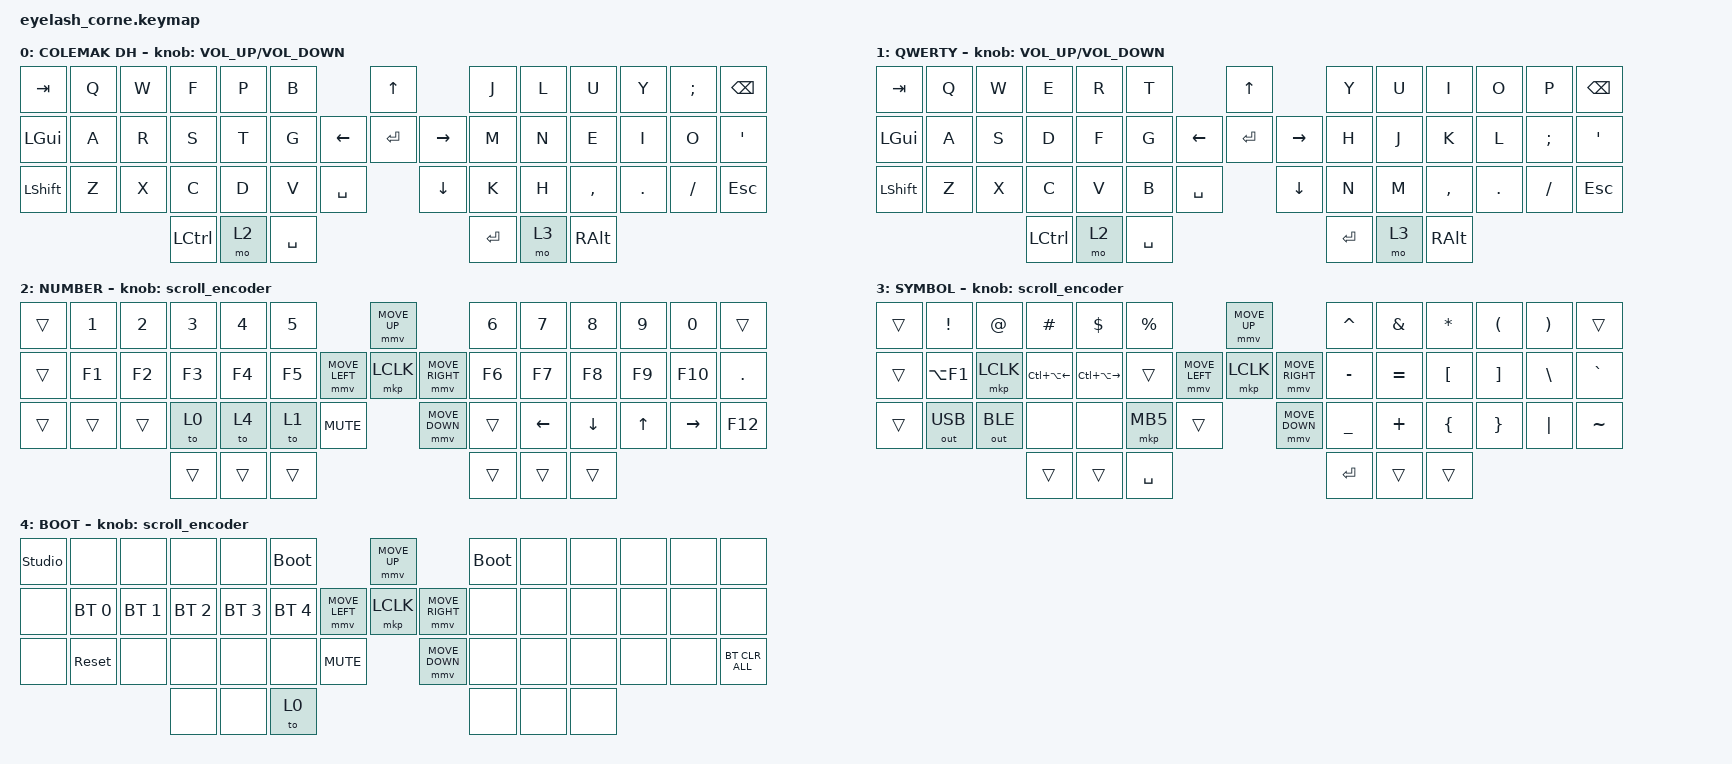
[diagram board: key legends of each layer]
#define ZMK_POINTING_DEFAULT_MOVE_VAL 1200  // 600
#define ZMK_POINTING_DEFAULT_SCRL_VAL 25   // 10

#include <input/processors.dtsi>
#include <zephyr/dt-bindings/input/input-event-codes.h>
#include <behaviors.dtsi>
#include <dt-bindings/zmk/bt.h>
#include <dt-bindings/zmk/keys.h>
#include <dt-bindings/zmk/outputs.h>
#include <dt-bindings/zmk/pointing.h>
#include <dt-bindings/zmk/rgb.h>

&mmv_input_listener { input-processors = <&zip_xy_scaler 2 1>; };

&msc_input_listener { input-processors = <&zip_scroll_scaler 2 1>; };

&msc {
    acceleration-exponent = <1>;      // 0
    time-to-max-speed-ms = <100>;       // 300
    delay-ms = <0>;                   // 0
};

&mmv {
    time-to-max-speed-ms = <500>;
    acceleration-exponent = <1>;
    trigger-period-ms = <16>;
};

&soft_off { hold-time-ms = <2000>; };

/ {
    behaviors {
        td0: td0 {
            compatible = "zmk,behavior-tap-dance";
            display-name = "Shift/Caps Lock Tap Dance";
            #binding-cells = <0>;
            bindings = <&kp LEFT_SHIFT>, <&kp CAPS>;
        };
    };

    rgb_encoder: rgb_encoder {
        compatible = "zmk,behavior-sensor-rotate";
        #sensor-binding-cells = <0>;
        bindings = <&rgb_ug RGB_BRI>, <&rgb_ug RGB_BRD>;
    };

    scroll_encoder: scroll_encoder {
        compatible = "zmk,behavior-sensor-rotate";
        #sensor-binding-cells = <0>;
        bindings = <&msc SCRL_DOWN>, <&msc SCRL_UP>;

        tap-ms = <100>;
    };

    

    combos {
        compatible = "zmk,combos";

        softoff {
            bindings = <&soft_off>;
            key-positions = <1 15 29>;
        };
    };

    keymap {
        compatible = "zmk,keymap";
        
        //0
        default_layer {
            label = "BASE";
            display-name = "COLEMAK DH";
            bindings = <
&kp TAB         &kp Q  &kp W  &kp F     &kp P       &kp B                               &kp UP                &kp J        &kp L        &kp U      &kp Y    &kp SEMI  &kp BSPC
&kp LGUI        &kp A  &kp R  &kp S     &kp T       &kp G                     &kp LEFT  &kp ENTER  &kp RIGHT  &kp M        &kp N        &kp E      &kp I    &kp O     &kp SQT
&kp LEFT_SHIFT  &kp Z  &kp X  &kp C     &kp D       &kp V        &kp SPACE              &kp DOWN              &kp K        &kp H        &kp COMMA  &kp DOT  &kp FSLH  &kp ESC
                              &kp LCTRL &mo 2       &kp SPACE                                                 &kp ENTER    &mo 3        &kp RALT
            >;

            sensor-bindings = <&inc_dec_kp C_VOLUME_UP C_VOLUME_DOWN>;
        };

        //1
        qwerty_layer {
            display-name = "QWERTY";
            label = "QWERTY";
            bindings = <
&kp TAB         &kp Q  &kp W  &kp E     &kp R       &kp T                               &kp UP                &kp Y        &kp U        &kp I      &kp O    &kp P      &kp BSPC
&kp LGUI        &kp A  &kp S  &kp D     &kp F       &kp G                     &kp LEFT  &kp ENTER  &kp RIGHT  &kp H        &kp J        &kp K      &kp L    &kp SEMI   &kp SQT
&kp LEFT_SHIFT  &kp Z  &kp X  &kp C     &kp V       &kp B        &kp SPACE              &kp DOWN              &kp N        &kp M        &kp COMMA  &kp DOT  &kp FSLH   &kp ESC
                              &kp LCTRL &mo 2       &kp SPACE                                                 &kp ENTER    &mo 3        &kp RALT
            >;

            sensor-bindings = <&inc_dec_kp C_VOLUME_UP C_VOLUME_DOWN>;
        };

        //2
        number_layer {
            display-name = "NUMBER";
            label = "NUMBER";
            bindings = <
&trans  &kp N1           &kp N2         &kp N3              &kp N4        &kp N5                                      &mmv MOVE_UP                     &kp N6           &kp N7           &kp N8            &kp N9           &kp N0     &trans
&trans  &kp F1           &kp F2         &kp F3              &kp F4        &kp F5                    &mmv MOVE_LEFT    &mkp LCLK       &mmv MOVE_RIGHT  &kp F6           &kp F7           &kp F8            &kp F9           &kp F10    &kp DOT
&trans  &trans           &trans         &to 0               &to 4         &to 1       &kp C_MUTE                      &mmv MOVE_DOWN                   &trans           &kp LEFT         &kp DOWN          &kp UP           &kp RIGHT  &kp F12
                                        &trans              &trans        &trans                                                                       &trans           &trans           &trans
            >;

            sensor-bindings = <&scroll_encoder>;
        };

        //3
        symbol_layer {
            display-name = "SYMBOL";
            label = "SYMBOL";
            bindings = <
&trans          &kp EXCL      &kp AT        &kp HASH              &kp DLLR           &kp  PRCNT                              &mmv MOVE_UP                     &kp CARET  &kp AMPS   &kp ASTRK  &kp LPAR  &kp RPAR  &trans
&trans          &kp LA(F1)    &mkp LCLK     &kp LC(LA(LEFT))      &kp LC(LA(RIGHT))  &trans                  &mmv MOVE_LEFT  &mkp LCLK       &mmv MOVE_RIGHT  &kp MINUS  &kp EQUAL  &kp LBKT   &kp RBKT  &kp BSLH  &kp GRAVE
&trans          &out OUT_USB  &out OUT_BLE  &none                 &none              &mkp MB5       &trans                   &mmv MOVE_DOWN                   &kp UNDER  &kp PLUS   &kp LBRC   &kp RBRC  &kp PIPE  &kp TILDE 
                                            &trans                &trans             &kp SPACE                                                                &kp RET    &trans     &trans
            >;

            sensor-bindings = <&scroll_encoder>;
        };

        //4
        boot_layer {
            display-name = "BOOT";
            label = "BOOT";
            bindings = <
&studio_unlock &none           &none           &none         &none         &bootloader                                  &mmv MOVE_UP                     &bootloader  &none      &none        &none      &none          &none
&none          &bt BT_SEL 0    &bt BT_SEL 1    &bt BT_SEL 2  &bt BT_SEL 3  &bt BT_SEL 4                &mmv MOVE_LEFT   &mkp LCLK       &mmv MOVE_RIGHT  &none        &none      &none        &none       &none         &none
&none          &sys_reset      &none           &none         &none         &none                   &kp C_MUTE           &mmv MOVE_DOWN                   &none       &none       &none        &none       &none         &bt BT_CLR_ALL
                                               &none         &none         &to  0                                                                   &none       &none     &none
            >;

            sensor-bindings = <&scroll_encoder>;
        };

        
    };
};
